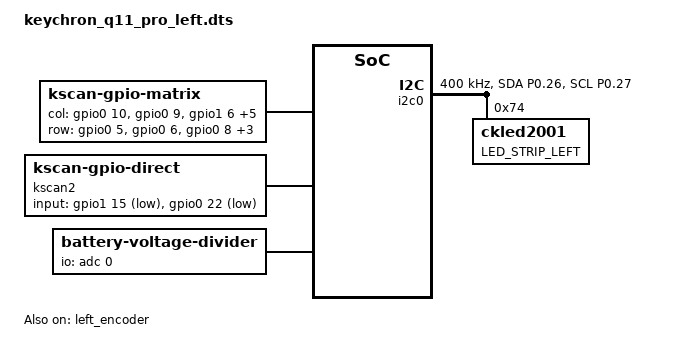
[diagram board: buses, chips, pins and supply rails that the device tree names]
/*
 * Copyright (c) 2024 Byran Huang, Keychron
 *
 * SPDX-License-Identifier: MIT
 */

/dts-v1/;
#include "keychron_q11_pro.dtsi"

/ {
    chosen {
        zmk,battery = &vbatt;
        zmk,underglow = &led_strip;
    };

    // Following keyboard scan composite driver as per: https: //zmk.dev/docs/config/kscan#example-configuration
    kscan0: kscan_composite {
        compatible = "zmk,kscan-composite";
        label = "KSCAN0";
        columns = < 8 >;
        rows = < 7 >;
        matrix {
            kscan = <&kscan1>;
        };
        direct {
            kscan = <&kscan2>;
            row-offset = <6>;
        };
    };

    // Keyboard switch matrix
    kscan1: kscan_matrix {
        compatible = "zmk,kscan-gpio-matrix";
        label = "KSCAN";
        diode-direction = "col2row";

        col-gpios
        = <&gpio0 10 (GPIO_ACTIVE_HIGH)> // L_COL_1
        , <&gpio0 9 (GPIO_ACTIVE_HIGH)>  // L_COL_2
        , <&gpio1 6 (GPIO_ACTIVE_HIGH)>  // L_COL_3
        , <&gpio1 4 (GPIO_ACTIVE_HIGH)>  // L_COL_4
        , <&gpio1 2 (GPIO_ACTIVE_HIGH)>  // L_COL_5
        , <&gpio1 1 (GPIO_ACTIVE_HIGH)>  // L_COL_6
        , <&gpio1 0 (GPIO_ACTIVE_HIGH)>  // L_COL_7
        , <&gpio0 24 (GPIO_ACTIVE_HIGH)> // L_COL_8
        ;

        row-gpios
        = <&gpio0 5  (GPIO_ACTIVE_HIGH | GPIO_PULL_DOWN)>  // L_ROW_1
        , <&gpio0 6  (GPIO_ACTIVE_HIGH | GPIO_PULL_DOWN)>  // L_ROW_2
        , <&gpio0 8  (GPIO_ACTIVE_HIGH | GPIO_PULL_DOWN)>  // L_ROW_3
        , <&gpio1 9  (GPIO_ACTIVE_HIGH | GPIO_PULL_DOWN)>  // L_ROW_4
        , <&gpio0 12 (GPIO_ACTIVE_HIGH | GPIO_PULL_DOWN)>  // L_ROW_5
        , <&gpio0 29 (GPIO_ACTIVE_HIGH | GPIO_PULL_DOWN)>  // L_ROW_6
        ;
    };

    // Direct GPIO scanning
    kscan2: kscan_direct {
        compatible = "zmk,kscan-gpio-direct";
        toggle-mode;
        input-gpios
        // MAC/WIN toggle
        = <&gpio1 15 (GPIO_ACTIVE_LOW | GPIO_PULL_UP)>
        // SEL toggle
        // @TODO: check SEL toggle voltage levels and UX
        , <&gpio0 22 (GPIO_ACTIVE_LOW | GPIO_PULL_UP)>
        ;
    };

    // @TODO: Implement https: //zmk.dev/docs/behaviors/power
    // External power toggle for SDB pin on CKLED
    // ext-power {
    //         compatible = "zmk,ext-power-generic";
    //         label = "EXT_POWER";
    //         control-gpios = <&gpio1 13 GPIO_ACTIVE_HIGH>;
    //         init-delay-ms = <0>; // Optimize init delay time
    // };

    // Voltage divider circuit to AIN0
    vbatt: vbatt {
        compatible = "zmk,battery-voltage-divider";
        label = "BATTERY";
        io-channels = <&adc 0>;  // AIN0
        output-ohms = <1000000>; // 1M
        full-ohms = <(1000000 + 1000000)>; // 1M + 1M
    };
};

&left_encoder {
    a-gpios = <&gpio0 13 (GPIO_ACTIVE_HIGH | GPIO_PULL_UP)>;
    b-gpios = <&gpio0 15 (GPIO_ACTIVE_HIGH | GPIO_PULL_UP)>;
    resolution = <4>;
    status = "okay";
};

&pinctrl {
    i2c0_default: i2c0_default {
        group1 {
            psels = <NRF_PSEL(TWIM_SDA, 0, 26)>,
                    <NRF_PSEL(TWIM_SCL, 0, 27)>;
        };
    };

    i2c0_sleep: i2c0_sleep {
        group1 {
            psels = <NRF_PSEL(TWIM_SDA, 0, 26)>,
                    <NRF_PSEL(TWIM_SCL, 0, 27)>;
            low-power-enable;
        };
    };
};

&i2c0 {
    compatible = "nordic,nrf-twi";
    pinctrl-0 = <&i2c0_default>;
    pinctrl-1 = <&i2c0_sleep>;
    pinctrl-names = "default", "sleep";
    status = "okay";

    // Standard I2C speed of 400kHz
    clock-frequency = <DT_FREQ_K(400)>;

    led_strip: ckled2001@74 {
        compatible = "zmk,ckled2001";
        label = "LED_STRIP_LEFT";
        reg = <0x74>;
        // ALL CALL
        chain-length = < 64 >;
        map = <
        CK(0, 0) CK(1, 0) CK(2, 0)
        CK(3, 0) CK(4, 0) CK(5, 0)
        CK(6, 0) CK(7, 0) CK(8, 0)
        CK(9, 0) CK(10, 0) CK(11, 0)

        CK(0, 1) CK(1, 1) CK(2, 1)
        CK(3, 1) CK(4, 1) CK(5, 1)
        CK(6, 1) CK(7, 1) CK(8, 1)
        CK(9, 1) CK(10, 1) CK(11, 1)

        CK(0, 2) CK(1, 2) CK(2, 2)
        CK(3, 2) CK(4, 2) CK(5, 2)
        CK(6, 2) CK(7, 2) CK(8, 2)
        CK(9, 2) CK(10, 2) CK(11, 2)

        CK(0, 3) CK(1, 3) CK(2, 3)
        CK(3, 3) CK(4, 3) CK(5, 3)
        CK(6, 3) CK(7, 3) CK(8, 3)
        CK(9, 3) CK(10, 3) CK(11, 3)

        CK(0, 4) CK(1, 4) CK(2, 4)
        CK(3, 4) CK(4, 4) CK(5, 4)
        CK(6, 4) CK(7, 4) CK(8, 4)
        CK(9, 4) CK(10, 4) CK(11, 4)

        CK(0, 5) CK(1, 5) CK(2, 5)
        CK(3, 5) CK(4, 5) CK(5, 5)
        CK(6, 5) CK(7, 5) CK(8, 5)
        CK(9, 5) CK(10, 5) CK(11, 5)

        CK(0, 6) CK(1, 6) CK(2, 6)
        CK(3, 6) CK(4, 6) CK(5, 6)
        CK(6, 6) CK(7, 6) CK(8, 6)
        CK(9, 6) CK(10, 6) CK(11, 6)

        CK(0, 7) CK(1, 7) CK(2, 7)
        CK(3, 7) CK(4, 7) CK(5, 7)
        CK(6, 7) CK(7, 7) CK(8, 7)
        CK(9, 7) CK(10, 7) CK(11, 7)

        CK(0, 8) CK(1, 8) CK(2, 8)
        CK(3, 8) CK(4, 8) CK(5, 8)
        CK(6, 8) CK(7, 8) CK(8, 8)
        CK(9, 8) CK(10, 8) CK(11, 8)

        CK(0, 9) CK(1, 9) CK(2, 9)
        CK(3, 9) CK(4, 9) CK(5, 9)
        CK(6, 9) CK(7, 9) CK(8, 9)
        CK(9, 9) CK(10, 9) CK(11, 9)

        CK(0, 10) CK(1, 10) CK(2, 10)
        CK(3, 10) CK(4, 10) CK(5, 10)
        CK(6, 10) CK(7, 10) CK(8, 10)
        CK(9, 10) CK(10, 10) CK(11, 10)

        CK(0, 11) CK(1, 11) CK(2, 11)
        CK(3, 11) CK(4, 11) CK(5, 11)
        CK(6, 11) CK(7, 11) CK(8, 11)
        CK(9, 11) CK(10, 11) CK(11, 11)

        CK(0, 12) CK(1, 12) CK(2, 12)
        CK(3, 12) CK(4, 12) CK(5, 12)
        CK(6, 12) CK(7, 12) CK(8, 12)
        CK(9, 12) CK(10, 12) CK(11, 12)

        CK(0, 13) CK(1, 13) CK(2, 13)
        CK(3, 13) CK(4, 13) CK(5, 13)
        CK(6, 13) CK(7, 13) CK(8, 13)
        CK(9, 13) CK(10, 13) CK(11, 13)
        >;
    };
};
